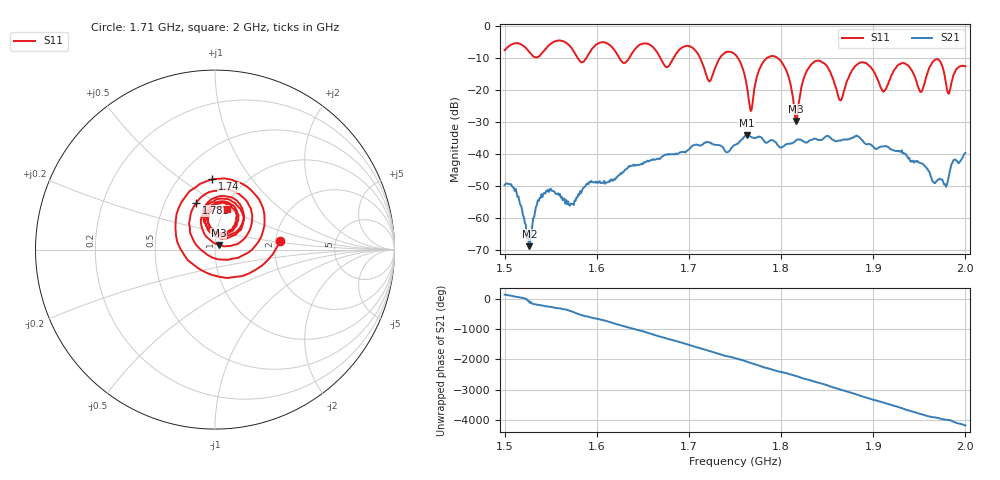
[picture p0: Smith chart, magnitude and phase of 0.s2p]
! NanoVNA-App by SYSJOINT et al v1.1.209 (+OD18)
! Date: 2026-01-21 14:24:32
! Start: 1,5GHz Stop: 2GHz Points: 501
! S-Parameter data: F S11 S21 S12 S22
# Hz S RI R 50
!  Frequency  S11_Real  S11_Imag  S21_Real  S21_Imag  S12_Real  S12_Imag  S22_Real  S22_Imag
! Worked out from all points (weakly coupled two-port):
!   501 points, 1.5 GHz to 2 GHz, reference 50 ohm
!   highest |S21| = -34.14 dB at 1.763 GHz (marker M1); lowest = -68.9 dB at 1.527 GHz (marker M2)
!   lowest |S11| = -29.7 dB at 1.816 GHz (marker M3), VSWR 1.07, Z = 52 + j2.66 ohm
!   |S11| at or under -10 dB: 1.712 GHz to 1.734 GHz (21.24 MHz wide, 1.23 % of centre); 1.753 GHz to 1.784 GHz (31.03 MHz wide, 1.75 % of centre); 1.796 GHz to end of sweep (the widest 3 of 6)
!   S12 and S22 are empty: the file has one direction only
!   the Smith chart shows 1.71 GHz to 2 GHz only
!   S11 on the Smith chart (normalised r, x): 1.71 GHz: 2.12, +0.25; 1.74 GHz: 0.72, +0.66; 1.781 GHz: 0.72, +0.40; 2 GHz: 1.02, +0.49
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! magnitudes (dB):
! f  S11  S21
! 1.5 GHz  -7.5  -49.7
! 1.527 GHz  -8.1  -68.9
! 1.544 GHz  -7.2  -52.4
! 1.584 GHz  -11.3  -51.5
! 1.667 GHz  -8.8  -41.5
! 1.71 GHz  -8.7  -37.2
! 1.722 GHz  -17.3  -36.3
! 1.74 GHz  -8.1  -39.3
! 1.75 GHz  -8.8  -37.2
! 1.763 GHz  -19.0  -34.1
! 1.768 GHz  -26.2  -34.7
! 1.781 GHz  -11.1  -35.8
! 1.802 GHz  -11.8  -37.7
! 1.816 GHz  -29.7  -35.8
! 1.834 GHz  -11.6  -35.5
! 1.864 GHz  -23.1  -35.7
! 1.886 GHz  -11.4  -35.1
! 1.917 GHz  -17.3  -38.0
! 1.952 GHz  -20.6  -42.9
! 1.969 GHz  -10.4  -48.5
! 1.978 GHz  -16.3  -49.4
! 2 GHz  -12.6  -39.7
